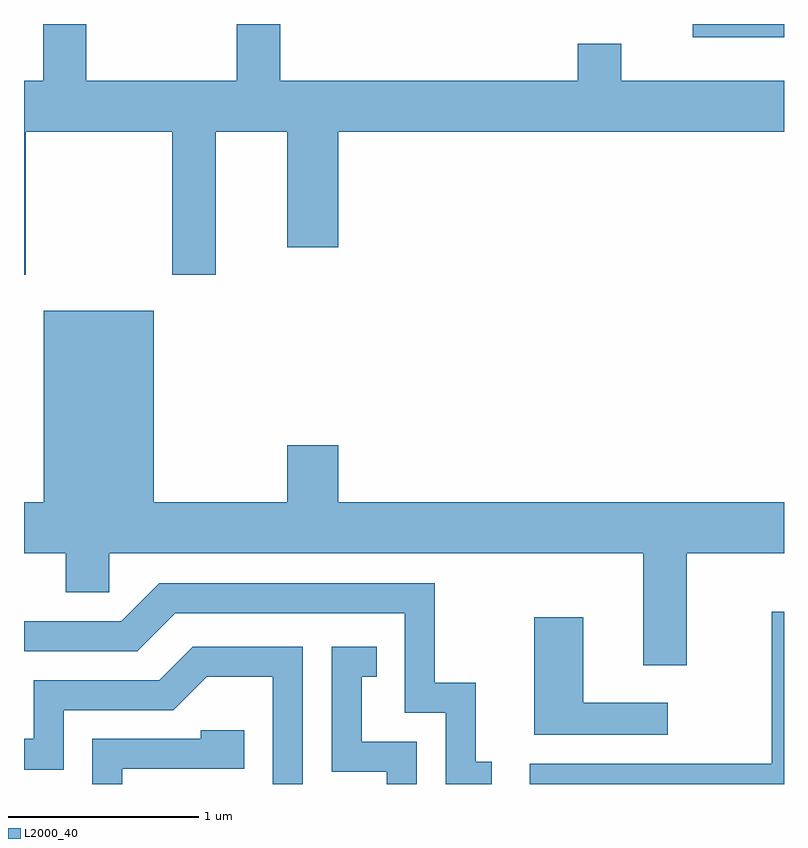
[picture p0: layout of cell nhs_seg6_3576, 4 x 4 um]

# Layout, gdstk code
import gdstk
lib = gdstk.Library(unit=1e-6, precision=1e-09)
def R(c, l, rs):  # rectangles x0, y0, x1, y1
    for r in rs: c.add(gdstk.rectangle(r[:2], r[2:], *l))
def P(c, l, *ps):  # polygons
    for p in ps: c.add(gdstk.Polygon(p, *l))
L2000_40 = (2000, 40)

nhs_seg6_3576 = lib.new_cell('nhs_seg6_3576')
R(nhs_seg6_3576, L2000_40, [(297.131,1546.091,297.611,1546.162)])
P(nhs_seg6_3576, L2000_40, [(293.619,1545.596),(294.391,1545.596),(294.391,1544.841),(294.619,1544.841),(294.619,1545.596),(294.996,1545.596),(294.996,1544.986),(295.264,1544.986),(295.264,1545.596),(297.611,1545.596),(297.611,1545.864),(296.754,1545.864),(296.754,1546.059),(296.526,1546.059),(296.526,1545.864),(294.959,1545.864),(294.959,1546.162),(294.731,1546.162),(294.731,1545.864),(293.939,1545.864),(293.939,1546.162),(293.711,1546.162),(293.711,1545.864),(293.611,1545.864),(293.611,1544.841),(293.619,1544.841)],
  [(297.099,1543.376),(297.611,1543.376),(297.611,1543.644),(295.264,1543.644),(295.264,1543.944),(294.996,1543.944),(294.996,1543.644),(294.294,1543.644),(294.294,1544.654),(293.716,1544.654),(293.716,1543.644),(293.611,1543.644),(293.611,1543.376),(293.831,1543.376),(293.831,1543.171),(294.059,1543.171),(294.059,1543.376),(296.871,1543.376),(296.871,1542.786),(297.099,1542.786)],
  [(296.073,1542.279),(295.989,1542.279),(295.989,1542.694),(295.774,1542.694),(295.774,1543.219),(294.324,1543.219),(294.124,1543.019),(293.611,1543.019),(293.611,1542.861),(294.207,1542.861),(294.407,1543.061),(295.616,1543.061),(295.616,1542.536),(295.831,1542.536),(295.831,1542.162),(296.073,1542.162)],
  [(297.611,1543.068),(297.546,1543.068),(297.546,1542.269),(296.273,1542.269),(296.273,1542.162),(297.611,1542.162)],
  [(296.998,1542.589),(296.554,1542.589),(296.554,1543.039),(296.296,1543.039),(296.296,1542.421),(296.998,1542.421)],
  [(295.079,1542.884),(294.499,1542.884),(294.324,1542.709),(293.661,1542.709),(293.661,1542.399),(293.611,1542.399),(293.611,1542.236),(293.819,1542.236),(293.819,1542.551),(294.397,1542.551),(294.572,1542.726),(294.921,1542.726),(294.921,1542.162),(295.079,1542.162)],
  [(295.679,1542.384),(295.389,1542.384),(295.389,1542.726),(295.468,1542.726),(295.468,1542.884),(295.231,1542.884),(295.231,1542.226),(295.521,1542.226),(295.521,1542.162),(295.679,1542.162)],
  [(294.129,1542.241),(294.769,1542.241),(294.769,1542.444),(294.541,1542.444),(294.541,1542.399),(293.971,1542.399),(293.971,1542.162),(294.129,1542.162)])

lib.write_gds('nhs_seg6_3576.gds')
